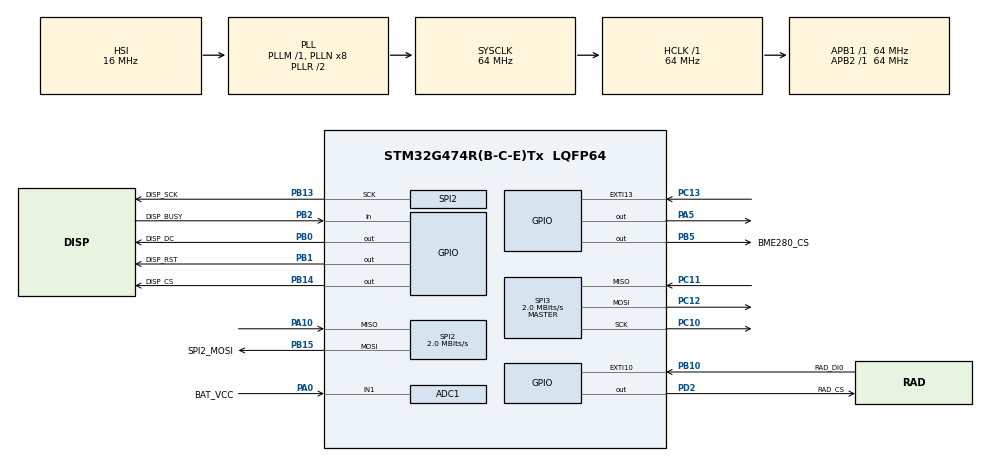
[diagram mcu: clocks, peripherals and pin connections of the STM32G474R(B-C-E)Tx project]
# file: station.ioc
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ADC1.Channel-0\#ChannelRegularConversion=ADC_CHANNEL_1
ADC1.NbrOfConversion=1
ADC1.NbrOfConversionFlag=1
ADC1.OffsetNumber-0\#ChannelRegularConversion=ADC_OFFSET_NONE
ADC1.OversamplingMode=DISABLE
ADC1.Rank-0\#ChannelRegularConversion=1
ADC1.SamplingTime-0\#ChannelRegularConversion=ADC_SAMPLETIME_2CYCLES_5
ADC1.master=1
Dma.Request0=SPI2_RX
Dma.Request1=SPI2_TX
Dma.SPI2_RX.0.Direction=DMA_PERIPH_TO_MEMORY
Dma.SPI2_RX.0.EventEnable=DISABLE
Dma.SPI2_RX.0.Instance=DMA1_Channel1
Dma.SPI2_RX.0.MemDataAlignment=DMA_MDATAALIGN_BYTE
Dma.SPI2_RX.0.MemInc=DMA_MINC_ENABLE
Dma.SPI2_RX.0.Mode=DMA_NORMAL
Dma.SPI2_RX.0.PeriphDataAlignment=DMA_PDATAALIGN_BYTE
Dma.SPI2_RX.0.PeriphInc=DMA_PINC_DISABLE
Dma.SPI2_RX.0.Polarity=HAL_DMAMUX_REQ_GEN_RISING
Dma.SPI2_RX.0.Priority=DMA_PRIORITY_LOW
Dma.SPI2_RX.0.RequestNumber=1
Dma.SPI2_RX.0.SignalID=NONE
Dma.SPI2_RX.0.SyncEnable=DISABLE
Dma.SPI2_RX.0.SyncPolarity=HAL_DMAMUX_SYNC_NO_EVENT
Dma.SPI2_RX.0.SyncRequestNumber=1
Dma.SPI2_RX.0.SyncSignalID=NONE
Dma.SPI2_TX.1.Direction=DMA_MEMORY_TO_PERIPH
Dma.SPI2_TX.1.EventEnable=DISABLE
Dma.SPI2_TX.1.Instance=DMA1_Channel2
Dma.SPI2_TX.1.MemDataAlignment=DMA_MDATAALIGN_BYTE
Dma.SPI2_TX.1.MemInc=DMA_MINC_ENABLE
Dma.SPI2_TX.1.Mode=DMA_NORMAL
Dma.SPI2_TX.1.PeriphDataAlignment=DMA_PDATAALIGN_BYTE
Dma.SPI2_TX.1.PeriphInc=DMA_PINC_DISABLE
Dma.SPI2_TX.1.Polarity=HAL_DMAMUX_REQ_GEN_RISING
Dma.SPI2_TX.1.Priority=DMA_PRIORITY_LOW
Dma.SPI2_TX.1.RequestNumber=1
Dma.SPI2_TX.1.SignalID=NONE
Dma.SPI2_TX.1.SyncEnable=DISABLE
Dma.SPI2_TX.1.SyncPolarity=HAL_DMAMUX_SYNC_NO_EVENT
Dma.SPI2_TX.1.SyncRequestNumber=1
Dma.SPI2_TX.1.SyncSignalID=NONE
Mcu.Family=STM32G4
Mcu.Name=STM32G474R(B-C-E)Tx
Mcu.Package=LQFP64
NUCLEO-G474RE.BUTTON=1
NUCLEO-G474RE.LD2=true
NUCLEO-G474RE.VCP=true
NVIC.ADC1_2_IRQn=true\:0\:0\:false\:false\:true\:true\:true\:true
NVIC.DMA1_Channel1_IRQn=true\:0\:0\:false\:false\:true\:false\:true\:true
NVIC.DMA1_Channel2_IRQn=true\:0\:0\:false\:false\:true\:false\:true\:true
NVIC.EXTI15_10_IRQn=true\:0\:0\:false\:false\:true\:true\:true\:true
NVIC.PriorityGroup=NVIC_PRIORITYGROUP_4
PA0.GPIO_Label=BAT_VCC
PA0.Mode=IN1-Single-Ended
PA0.Signal=ADC1_IN1
PA10.Mode=Full_Duplex_Master
PA10.Signal=SPI2_MISO
PA13.GPIO_Label=T_SWDIO
PA13.Signal=SYS_JTMS-SWDIO
PA14.GPIO_Label=T_SWCLK
PA14.Signal=SYS_JTCK-SWCLK
PA2.Signal=LPUART1_TX
PA3.Signal=LPUART1_RX
PA5.Signal=GPIO_Output
PB0.GPIO_Label=DISP_DC
PB0.Signal=GPIO_Output
PB1.GPIO_Label=DISP_RST
PB1.Signal=GPIO_Output
PB10.GPIO_Label=RAD_DI0
PB10.Signal=GPXTI10
PB13.GPIO_Label=DISP_SCK
PB13.Mode=Full_Duplex_Master
PB13.Signal=SPI2_SCK
PB14.GPIO_Label=DISP_CS
PB14.Signal=GPIO_Output
PB15.GPIO_Label=SPI2_MOSI
PB15.Mode=Full_Duplex_Master
PB15.Signal=SPI2_MOSI
PB2.GPIO_Label=DISP_BUSY
PB2.Signal=GPIO_Input
PB3.GPIO_Label=T_SWO
PB3.Signal=SYS_JTDO-SWO
PB5.GPIO_Label=BME280_CS
PB5.Signal=GPIO_Output
PC10.Mode=Full_Duplex_Master
PC10.Signal=SPI3_SCK
PC11.Mode=Full_Duplex_Master
PC11.Signal=SPI3_MISO
PC12.Mode=Full_Duplex_Master
PC12.Signal=SPI3_MOSI
PC13.Signal=GPXTI13
PC14-OSC32_IN.GPIO_Label=RCC_OSC32_IN
PC14-OSC32_IN.Mode=LSE-External-Oscillator
PC14-OSC32_IN.Signal=RCC_OSC32_IN
PC15-OSC32_OUT.GPIO_Label=RCC_OSC32_OUT
PC15-OSC32_OUT.Mode=LSE-External-Oscillator
PC15-OSC32_OUT.Signal=RCC_OSC32_OUT
PD2.GPIO_Label=RAD_CS
PD2.Signal=GPIO_Output
PF0-OSC_IN.GPIO_Label=RCC_OSC_IN
PF0-OSC_IN.Signal=RCC_OSC_IN
PF1-OSC_OUT.GPIO_Label=RCC_OSC_OUT
PF1-OSC_OUT.Signal=RCC_OSC_OUT
ProjectManager.HeapSize=0x200
ProjectManager.StackSize=0x400
ProjectManager.TargetToolchain=CMake
RCC.ADC12Freq_Value=64000000
RCC.ADC345Freq_Value=64000000
RCC.AHBFreq_Value=64000000
RCC.APB1Freq_Value=64000000
RCC.APB1TimFreq_Value=64000000
RCC.APB2Freq_Value=64000000
RCC.APB2TimFreq_Value=64000000
RCC.CortexFreq_Value=64000000
RCC.EXTERNAL_CLOCK_VALUE=12288000
RCC.HCLKFreq_Value=64000000
RCC.HSE_VALUE=24000000
RCC.HSI48_VALUE=48000000
RCC.HSI_VALUE=16000000
RCC.RTCClockSelection=RCC_RTCCLKSOURCE_LSE
RCC.SYSCLKFreq_VALUE=64000000
RCC.SYSCLKSource=RCC_SYSCLKSOURCE_PLLCLK
RCC.USBFreq_Value=64000000
RCC.VCOOutputFreq_Value=128000000
SPI2.BaudRatePrescaler=SPI_BAUDRATEPRESCALER_32
SPI2.CalculateBaudRate=2.0 MBits/s
SPI2.DataSize=SPI_DATASIZE_8BIT
SPI2.Direction=SPI_DIRECTION_2LINES
SPI2.Mode=SPI_MODE_MASTER
SPI2.NSSPMode=SPI_NSS_PULSE_ENABLE
SPI2.VirtualType=VM_MASTER
SPI3.BaudRatePrescaler=SPI_BAUDRATEPRESCALER_32
SPI3.CalculateBaudRate=2.0 MBits/s
SPI3.DataSize=SPI_DATASIZE_8BIT
SPI3.Direction=SPI_DIRECTION_2LINES
SPI3.Mode=SPI_MODE_MASTER
SPI3.VirtualType=VM_MASTER
TIM1.PeriodNoDither=9999
TIM1.Prescaler=169
VP_NUCLEO-G474RE_VS_BSP_COMMON.Mode=COMMON
VP_RTC_VS_RTC_Activate.Mode=RTC_Enabled
VP_RTC_VS_RTC_Calendar.Mode=RTC_Calendar
VP_SYS_VS_DBSignals.Mode=DisableDeadBatterySignals
VP_TIM1_VS_ClockSourceINT.Mode=Internal
board=NUCLEO-G474RE

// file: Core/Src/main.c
/* USER CODE BEGIN Header */
/**
 ******************************************************************************
 * @file           : main.c
 * @brief          : Main program body
 ******************************************************************************
 * @attention
 *
 * Copyright (c) 2025 STMicroelectronics.
 * All rights reserved.
 *
 * This software is licensed under terms that can be found in the LICENSE file
 * in the root directory of this software component.
 * If no LICENSE file comes with this software, it is provided AS-IS.
 *
 ******************************************************************************
 */
/* USER CODE END Header */
#include "main.h"
#include "adc.h"
#include "dma.h"
#include "rtc.h"
#include "spi.h"
#include "tim.h"
#include "gpio.h"

/* USER CODE BEGIN Includes */

#include "app/app.h"
#include <string.h>

/* USER CODE END Includes */

COM_InitTypeDef BspCOMInit;

/* USER CODE BEGIN PV */

app_handle app;

/* USER CODE END PV */

void SystemClock_Config(void);

int main(void)
{

  /* MCU Configuration--------------------------------------------------------*/

  /* Reset of all peripherals, Initializes the Flash interface and the Systick. */
  HAL_Init();

  /* Configure the system clock */
  SystemClock_Config();

  /* Initialize all configured peripherals */
  MX_GPIO_Init();
  MX_DMA_Init();
  MX_SPI2_Init();
  MX_TIM1_Init();
  MX_ADC1_Init();
  MX_RTC_Init();
  MX_SPI3_Init();

  /* Initialize led */
  BSP_LED_Init(LED_GREEN);

  /* Initialize USER push-button, will be used to trigger an interrupt each time it's pressed.*/
  BSP_PB_Init(BUTTON_USER, BUTTON_MODE_EXTI);

  /* Initialize COM1 port (115200, 8 bits (7-bit data + 1 stop bit), no parity */
  BspCOMInit.BaudRate   = 115200;
  BspCOMInit.WordLength = COM_WORDLENGTH_8B;
  BspCOMInit.StopBits   = COM_STOPBITS_1;
  BspCOMInit.Parity     = COM_PARITY_NONE;
  BspCOMInit.HwFlowCtl  = COM_HWCONTROL_NONE;
  if (BSP_COM_Init(COM1, &BspCOMInit) != BSP_ERROR_NONE)
  {
    Error_Handler();
  }

  /* Infinite loop */
  /* USER CODE BEGIN WHILE */

  memset(&app, 0, sizeof(app));
  app_init(&app);

  while (1)
  {
    app_loop(&app);

    /* USER CODE END WHILE */

  }
}

void SystemClock_Config(void)
{
  RCC_OscInitTypeDef RCC_OscInitStruct = {0};
  RCC_ClkInitTypeDef RCC_ClkInitStruct = {0};

  /** Configure the main internal regulator output voltage
  */
  HAL_PWREx_ControlVoltageScaling(PWR_REGULATOR_VOLTAGE_SCALE1);

  /** Configure LSE Drive Capability
  */
  HAL_PWR_EnableBkUpAccess();
  __HAL_RCC_LSEDRIVE_CONFIG(RCC_LSEDRIVE_LOW);

  /** Initializes the RCC Oscillators according to the specified parameters
  * in the RCC_OscInitTypeDef structure.
  */
  RCC_OscInitStruct.OscillatorType = RCC_OSCILLATORTYPE_HSI|RCC_OSCILLATORTYPE_LSE;
  RCC_OscInitStruct.LSEState = RCC_LSE_ON;
  RCC_OscInitStruct.HSIState = RCC_HSI_ON;
  RCC_OscInitStruct.HSICalibrationValue = RCC_HSICALIBRATION_DEFAULT;
  RCC_OscInitStruct.PLL.PLLState = RCC_PLL_ON;
  RCC_OscInitStruct.PLL.PLLSource = RCC_PLLSOURCE_HSI;
  RCC_OscInitStruct.PLL.PLLM = RCC_PLLM_DIV1;
  RCC_OscInitStruct.PLL.PLLN = 8;
  RCC_OscInitStruct.PLL.PLLP = RCC_PLLP_DIV2;
  RCC_OscInitStruct.PLL.PLLQ = RCC_PLLQ_DIV2;
  RCC_OscInitStruct.PLL.PLLR = RCC_PLLR_DIV2;
  if (HAL_RCC_OscConfig(&RCC_OscInitStruct) != HAL_OK)
  {
    Error_Handler();
  }

  /** Initializes the CPU, AHB and APB buses clocks
  */
  RCC_ClkInitStruct.ClockType = RCC_CLOCKTYPE_HCLK|RCC_CLOCKTYPE_SYSCLK
                              |RCC_CLOCKTYPE_PCLK1|RCC_CLOCKTYPE_PCLK2;
  RCC_ClkInitStruct.SYSCLKSource = RCC_SYSCLKSOURCE_PLLCLK;
  RCC_ClkInitStruct.AHBCLKDivider = RCC_SYSCLK_DIV1;
  RCC_ClkInitStruct.APB1CLKDivider = RCC_HCLK_DIV1;
  RCC_ClkInitStruct.APB2CLKDivider = RCC_HCLK_DIV1;

  if (HAL_RCC_ClockConfig(&RCC_ClkInitStruct, FLASH_LATENCY_2) != HAL_OK)
  {
    Error_Handler();
  }
}

/* USER CODE BEGIN 4 */

void HAL_ADC_ConvCpltCallback(ADC_HandleTypeDef *hadc)
{
  app_adc_conv_cplt_callback(&app, hadc);
}

void HAL_GPIO_EXTI_Callback(uint16_t GPIO_Pin)
{
  app_gpio_exti_callback(&app, GPIO_Pin);
}

void HAL_SPI_TxCpltCallback(SPI_HandleTypeDef *hspi)
{
  app_spi_tx_cplt_callback(&app, hspi);
}

void HAL_SPI_TxHalfCpltCallback(SPI_HandleTypeDef *hspi)
{
  app_spi_tx_half_cplt_callback(&app, hspi);
}

void HAL_SPI_TxRxCpltCallback(SPI_HandleTypeDef *hspi)
{
  app_spi_txrx_cplt_callback(&app, hspi);
}

void HAL_SPI_TxRxHalfCpltCallback(SPI_HandleTypeDef *hspi)
{
  app_spi_txrx_half_cplt_callback(&app, hspi);
}

void HAL_SPI_ErrorCallback(SPI_HandleTypeDef *hspi)
{
  app_spi_error_callback(&app, hspi);
}

/* USER CODE END 4 */

void Error_Handler(void)
{
  __disable_irq();
  while (1)
  {
  }
}
